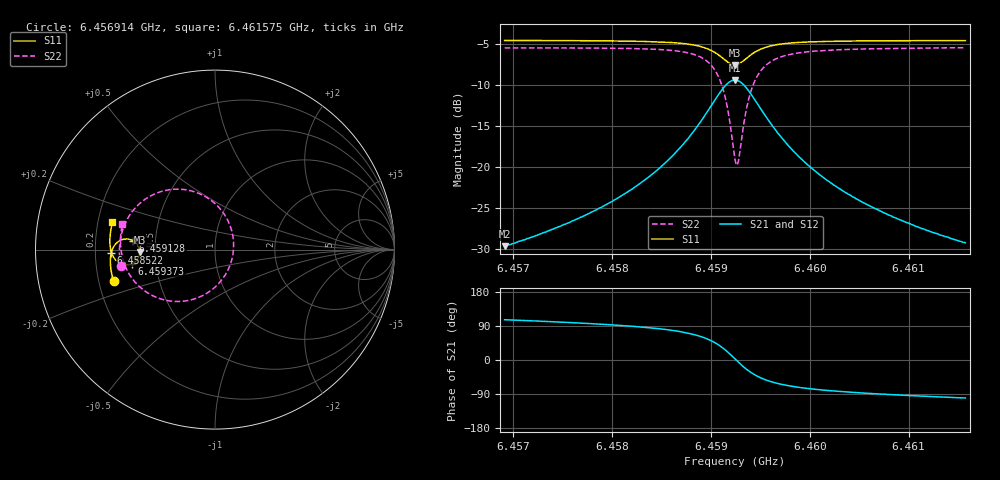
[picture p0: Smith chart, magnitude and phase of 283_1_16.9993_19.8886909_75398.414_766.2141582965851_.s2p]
#  HZ  S  RI  R  50.00
! Rohde & Schwarz Vector Network Analyzer
! Rohde-Schwarz,ZNB20-2Port,1311601062101988,3.16
! Created: UTC 3/20/2024, 11:04:46 PM
! freq[Hz]  re:S11  im:S11  re:S21  im:S21  re:S12  im:S12  re:S22  im:S22
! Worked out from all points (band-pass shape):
!   401 points, 6.456914 GHz to 6.461575 GHz, reference 50 ohm
!   highest |S21| = -9.37 dB at 6.459245 GHz (marker M1); lowest = -29.6 dB at 6.456914 GHz (marker M2)
!   |S21| within 3 dB of the highest: 6.459011 GHz to 6.459477 GHz (466.6 kHz wide, 0.00722 % of centre)
!   lowest |S11| = -7.5 dB at 6.459245 GHz (marker M3), VSWR 2.45, Z = 20.4 - j0.646 ohm
!   |S11| at or under -10 dB: nowhere
!   |S22| runs from -19.7 to -5.4 dB; largest |S21 - S12| = 0.013
!   S11 on the Smith chart (normalised r, x): 6.456914 GHz: 0.26, -0.14; 6.458522 GHz: 0.27, -0.02; 6.459128 GHz: 0.37, +0.05; 6.459373 GHz: 0.37, -0.07; 6.461575 GHz: 0.26, +0.12
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6.4569137e9  -0.5649 -0.1776  -0.00927 0.0317  -0.00766 0.0318  -0.5252 -0.0922
6.4576945e9  -0.5798 -0.1097  -0.00616 0.0495  -0.0038 0.0491  -0.5326 -0.0025
6.4581141e9  -0.5831 -0.068  -0.000885 0.068  0.00225 0.0669  -0.5264 0.0626
6.4584753e9  -0.5796 -0.0253  0.0126 0.0974  0.0167 0.0948  -0.5024 0.1422
6.4585219e9  -0.5782 -0.0188  0.0161 0.1028  0.02 0.0999  -0.4962 0.1553
6.4587317e9  -0.5663 0.0129  0.0414 0.1344  0.0456 0.1298  -0.4492 0.2265
6.4588832e9  -0.5454 0.0394  0.0834 0.1647  0.0867 0.1583  -0.3727 0.2912
6.4590347e9  -0.4997 0.0591  0.1739 0.1842  0.1749 0.1769  -0.2082 0.3367
6.459128e9  -0.4554 0.0492  0.2628 0.154  0.2631 0.1481  -0.0441 0.2897
6.4591746e9  -0.4345 0.0305  0.3062 0.1122  0.3072 0.1069  0.038 0.2159
6.4592445e9  -0.4198 -0.013  0.3394 0.0171  0.3428 0.0103  0.1036 0.0407
6.4592678e9  -0.4216 -0.0287  0.3375 -0.0177  0.3412 -0.0258  0.1002 -0.0246
6.4592795e9  -0.4238 -0.0362  0.3341 -0.0346  0.3377 -0.0435  0.0937 -0.0565
6.4593727e9  -0.4608 -0.078  0.2656 -0.1343  0.2649 -0.1469  -0.043 -0.2416
6.4594193e9  -0.4835 -0.0846  0.2222 -0.1566  0.2184 -0.169  -0.1296 -0.2789
6.4594776e9  -0.5082 -0.0838  0.1738 -0.1661  0.1675 -0.177  -0.2242 -0.2889
6.4596291e9  -0.5491 -0.0622  0.0918 -0.1509  0.0837 -0.1567  -0.3795 -0.2384
6.4597923e9  -0.5694 -0.0349  0.0498 -0.1242  0.0425 -0.1268  -0.4548 -0.1697
6.4600253e9  -0.5811 -0.00112  0.0229 -0.0953  0.0173 -0.0959  -0.4995 -0.094
6.4603983e9  -0.5857 0.0425  0.00629 -0.0679  0.00236 -0.0674  -0.5223 -0.0119
6.4608062e9  -0.5838 0.083  -0.00101 -0.051  -0.00373 -0.0503  -0.5267 0.0513
6.4615754e9  -0.5715 0.1511  -0.00615 -0.0341  -0.00798 -0.0332  -0.5163 0.1409
